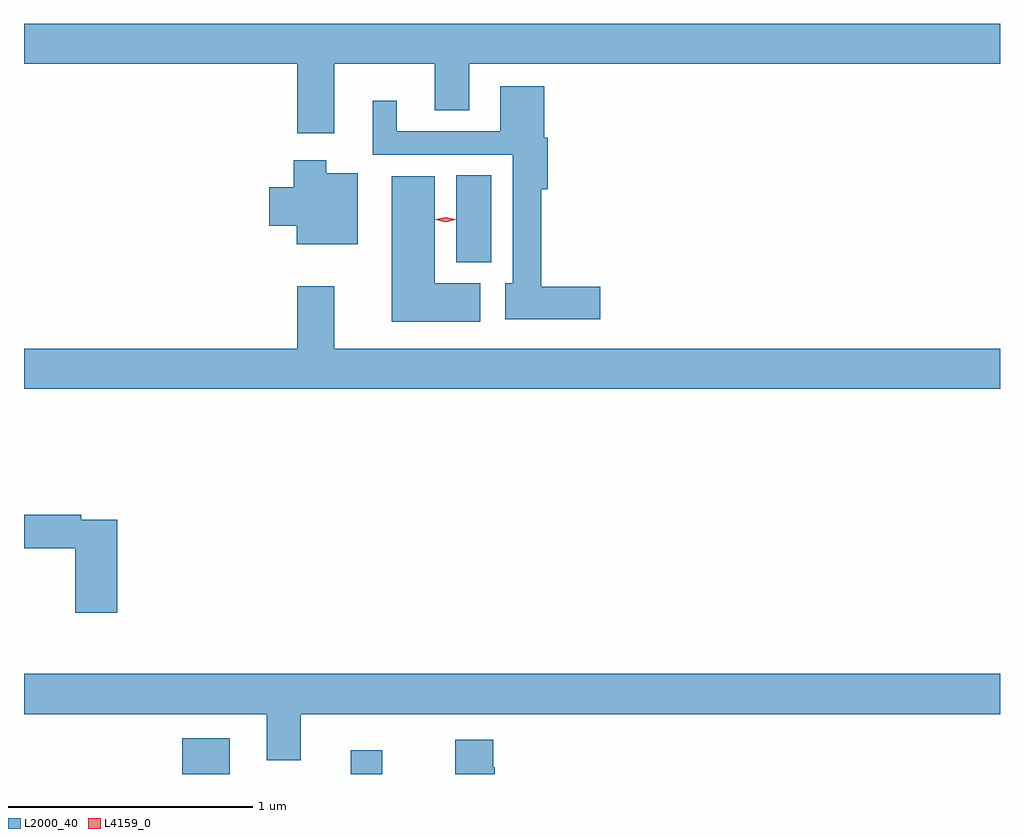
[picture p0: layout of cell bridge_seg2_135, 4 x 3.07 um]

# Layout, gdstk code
import gdstk
lib = gdstk.Library(unit=1e-6, precision=1e-09)
def R(c, l, rs):  # rectangles x0, y0, x1, y1
    for r in rs: c.add(gdstk.rectangle(r[:2], r[2:], *l))
def P(c, l, *ps):  # polygons
    for p in ps: c.add(gdstk.Polygon(p, *l))
L2000_40 = (2000, 40)
L4159_0 = (4159, 0)

bridge_seg2_135 = lib.new_cell('bridge_seg2_135')
R(bridge_seg2_135, L2000_40, [(472.807,604.766,473.002,604.912), (473.498,604.766,473.628,604.864), (473.93,606.863,474.073,607.22)])
P(bridge_seg2_135, L2000_40, [(473.431,607.676),(473.843,607.676),(473.843,607.486),(473.983,607.486),(473.983,607.676),(476.159,607.676),(476.159,607.84),(472.159,607.84),(472.159,607.676),(473.279,607.676),(473.279,607.392),(473.431,607.392)],
  [(474.52,606.764),(474.278,606.764),(474.278,607.163),(474.305,607.163),(474.305,607.374),(474.292,607.374),(474.292,607.585),(474.11,607.585),(474.11,607.401),(473.686,607.401),(473.686,607.525),(473.588,607.525),(473.588,607.305),(474.162,607.305),(474.162,606.777),(474.131,606.777),(474.131,606.629),(474.52,606.629)],
  [(473.527,607.228),(473.398,607.228),(473.398,607.282),(473.264,607.282),(473.264,607.171),(473.165,607.171),(473.165,607.013),(473.276,607.013),(473.276,606.938),(473.527,606.938)],
  [(474.028,606.778),(473.842,606.778),(473.842,607.216),(473.666,607.216),(473.666,606.62),(474.028,606.62)],
  [(476.159,606.508),(473.431,606.508),(473.431,606.766),(473.279,606.766),(473.279,606.508),(472.159,606.508),(472.159,606.344),(476.159,606.344)],
  [(472.541,605.808),(472.394,605.808),(472.394,605.828),(472.159,605.828),(472.159,605.692),(472.37,605.692),(472.37,605.427),(472.541,605.427)],
  [(473.293,605.012),(476.159,605.012),(476.159,605.176),(472.159,605.176),(472.159,605.012),(473.153,605.012),(473.153,604.823),(473.293,604.823)],
  [(474.089,604.793),(474.082,604.793),(474.082,604.906),(473.927,604.906),(473.927,604.766),(474.089,604.766)])
P(bridge_seg2_135, L4159_0, [(473.887,607.028),(473.847,607.038),(473.847,607.038),(473.847,607.039),(473.887,607.048),(473.927,607.039),(473.927,607.038),(473.927,607.038)])

lib.write_gds('bridge_seg2_135.gds')
